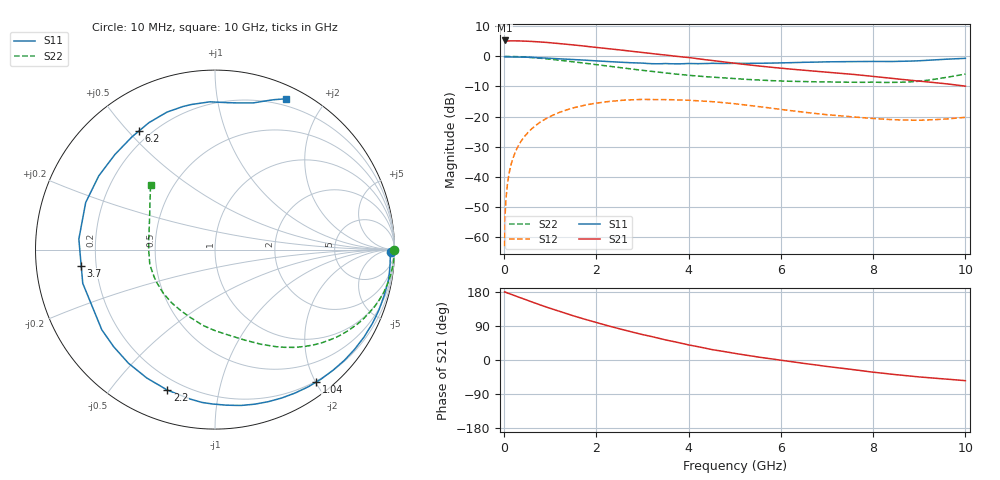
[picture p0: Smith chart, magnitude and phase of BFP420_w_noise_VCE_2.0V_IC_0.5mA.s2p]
! Infineon Technologies  Discrete & RF Semiconductors
! BFP420
! VCE =  2.0 V,  IC =  0.5 mA
! Common Emitter S-Parameters:  Jan 2016
# GHz  S  MA  R  50
!  f  S11  S21  S12  S22
! GHz  MAG  ANG  MAG  ANG  MAG  ANG  MAG  ANG
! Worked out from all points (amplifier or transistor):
!   233 points, 10 MHz to 10 GHz, reference 50 ohm
!   highest |S21| = 5.3 dB at 10 MHz (marker M1)
!   |S21| within 3 dB of that: start of sweep to 2.42 GHz
!   unconditionally stable (mu >= 1): 4.304 GHz to end of sweep
!   at 200 MHz: K = 0.01, MSG = 19.3 dB, |S12| = -33.5 dB
!   at 1.74 GHz: K = 0.30, MSG = 9.8 dB, |S12| = -16.3 dB
!   at 10 GHz: K = 1.61, MAG = 0.6 dB, |S12| = -20.3 dB
!   lowest NFmin = 0.68 dB at 900 MHz
!   S11 on the Smith chart (normalised r, x): 10 MHz: 70, -55; 1.04 GHz: 0.19, -2.00; 2.2 GHz: 0.14, -0.71; 3.7 GHz: 0.14, -0.06; 6.2 GHz: 0.16, +0.53; 10 GHz: 0.13, +1.57
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0.01  0.9825 -0.8  1.839 179.5  0.0007 71.9  0.9987 -0.1
0.015  0.9824 -0.9  1.813 179.5  0.0014 83.4  0.9986 -0.3
0.02  0.9823 -1.0  1.787 179.5  0.0022 87.1  0.9985 -0.5
0.035  0.9799 -1.7  1.792 178.6  0.0037 88.6  0.9985 -1.0
0.06  0.9777 -3.0  1.8 177.3  0.0063 88.6  0.9984 -1.7
0.13  0.9796 -6.5  1.81 174.4  0.0138 86.0  0.9968 -3.8
0.22  0.9797 -11.1  1.808 170.2  0.0233 83.1  0.9928 -6.4
0.34  0.9744 -17.2  1.805 164.9  0.036 79.3  0.9848 -9.8
0.52  0.9667 -26.3  1.784 156.8  0.0547 73.2  0.9669 -14.8
1.04  0.9285 -52.7  1.674 134.6  0.1039 56.4  0.8912 -28.1
1.4  0.8978 -70.7  1.576 120.3  0.1324 45.2  0.8301 -36.3
1.68  0.8719 -84.2  1.5 110.0  0.1505 37.0  0.7822 -41.9
2.2  0.8266 -108.7  1.36 92.0  0.1755 22.8  0.6982 -51.3
2.78  0.7825 -135.3  1.212 73.6  0.1902 8.0  0.6136 -60.7
3.4  0.7547 -161.5  1.07 56.0  0.1916 -6.0  0.5394 -70.4
3.7  0.7509 -173.2  1.009 48.0  0.1893 -11.9  0.51 -75.2
4.5  0.7667 160.0  0.859 27.6  0.1771 -26.1  0.4525 -89.7
5.1  0.765 145.4  0.753 15.5  0.16 -34.4  0.4222 -100.9
6.2  0.7847 122.8  0.616 -3.9  0.1257 -43.2  0.3856 -122.9
6.8  0.8038 112.5  0.562 -13.7  0.1114 -44.2  0.3773 -136.0
8.4  0.8218 84.9  0.431 -37.5  0.0889 -37.9  0.3693 -179.1
10  0.9276 64.9  0.32 -54.6  0.097 -24.3  0.508 135.0
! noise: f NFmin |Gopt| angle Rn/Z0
0.9  0.68  0.78  35  0.65
1.8  1.42  0.6  75  0.5
2.4  1.57  0.58  98  0.37
3  2.1  0.58  128  0.24
4  2.49  0.57  177  0.09
